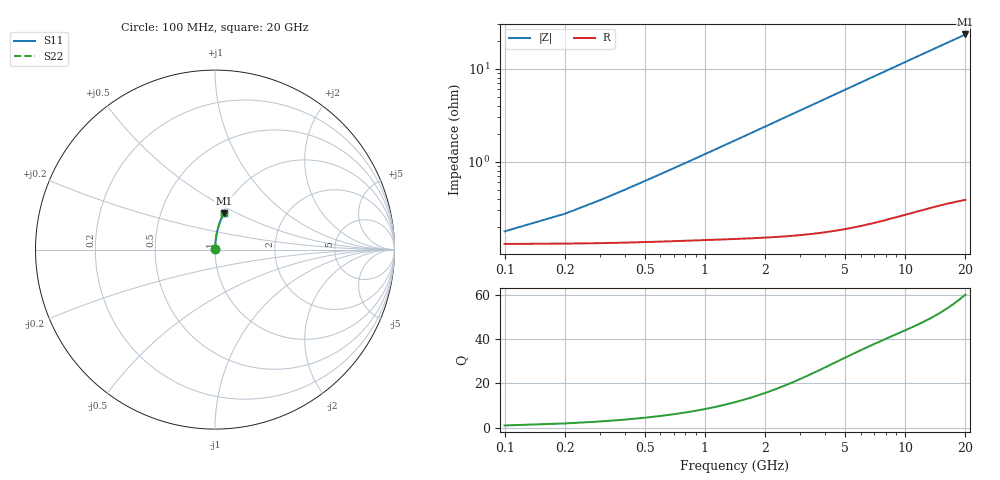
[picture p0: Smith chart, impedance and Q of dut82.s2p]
! Touchstone file exported from HFSS 2024.1.0
!  File:  C:/UserFiles/LocalFiles/RDL_TSV_Batchsim/temp_RDL_bottom_82_1778694425.aedt
!  Generated:  01:49:59 AM May 14, 2026
!  Design:  RDL_bottom
!  Project:  temp_RDL_bottom_82_1778694425
!  Setup:  Setup1
!  Solution:  Sweep
! Variables:
!  dtsv = 10.80580581um
!  hbump = 3um
!  htsv = 86.65um
!  ldown = 114.72um
!  lrdl = 100um
!  p = 40
!  p1 = 58.89um
!  rhole = 1um
!  t = 450um
!  tdown = 3.47um
!  trdl = 3.915915916um
!  wdown = 10.25um
!  wrdl = 20um
# GHz S MA R 50.000000
! Terminal data exported
! Port[1] = RDL1_T1
! Port[2] = RDL1_T2
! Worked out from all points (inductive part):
!   200 points, 100 MHz to 20 GHz, reference 50 ohm
!   read as one part in series: L = 191 pH near 400 MHz
!   highest Q = 60.1 at 20 GHz (marker M1), where L = 185 pH
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0.1  0.001679 39.2  0.9987 -0.1  0.9987 -0.1  0.001679 39.2
! Gamma 0 0 0 0
! Port Impedance 50 0 50 0
0.2  0.002495 58.2  0.9987 -0.2  0.9987 -0.2  0.002495 58.2
0.3  0.003444 67.2  0.9987 -0.2  0.9987 -0.2  0.003444 67.2
0.4  0.004436 72.2  0.9986 -0.3  0.9986 -0.3  0.004436 72.2
0.5  0.005446 75.3  0.9986 -0.4  0.9986 -0.4  0.005446 75.3
0.6  0.006463 77.4  0.9986 -0.5  0.9986 -0.5  0.006463 77.4
0.8  0.00851 80.1  0.9985 -0.6  0.9985 -0.6  0.00851 80.1
1.1  0.01159 82.4  0.9984 -0.8  0.9984 -0.8  0.01159 82.4
1.5  0.01572 83.9  0.9983 -1.1  0.9983 -1.1  0.01572 83.9
1.8  0.01883 84.6  0.9981 -1.4  0.9981 -1.4  0.01883 84.6
2.1  0.02194 85.0  0.998 -1.6  0.998 -1.6  0.02194 85.0
2.7  0.02817 85.5  0.9976 -2.1  0.9976 -2.1  0.02817 85.5
3.5  0.0365 85.7  0.997 -2.7  0.997 -2.7  0.0365 85.7
4.2  0.04381 85.7  0.9964 -3.2  0.9964 -3.2  0.04381 85.7
5  0.05217 85.5  0.9956 -3.8  0.9956 -3.8  0.05217 85.5
5.9  0.0616 85.2  0.9945 -4.4  0.9945 -4.4  0.0616 85.2
6.8  0.07104 84.8  0.9933 -5.1  0.9933 -5.1  0.07104 84.8
8.3  0.08679 84.0  0.9912 -6.2  0.9912 -6.2  0.08679 84.0
10.1  0.1057 82.9  0.9883 -7.5  0.9883 -7.5  0.1057 82.9
13.4  0.14 80.8  0.9822 -9.8  0.9822 -9.8  0.14 80.8
16.7  0.1739 78.6  0.9754 -12.0  0.9754 -12.0  0.1739 78.6
20  0.2071 76.4  0.9678 -14.3  0.9678 -14.3  0.2071 76.4
